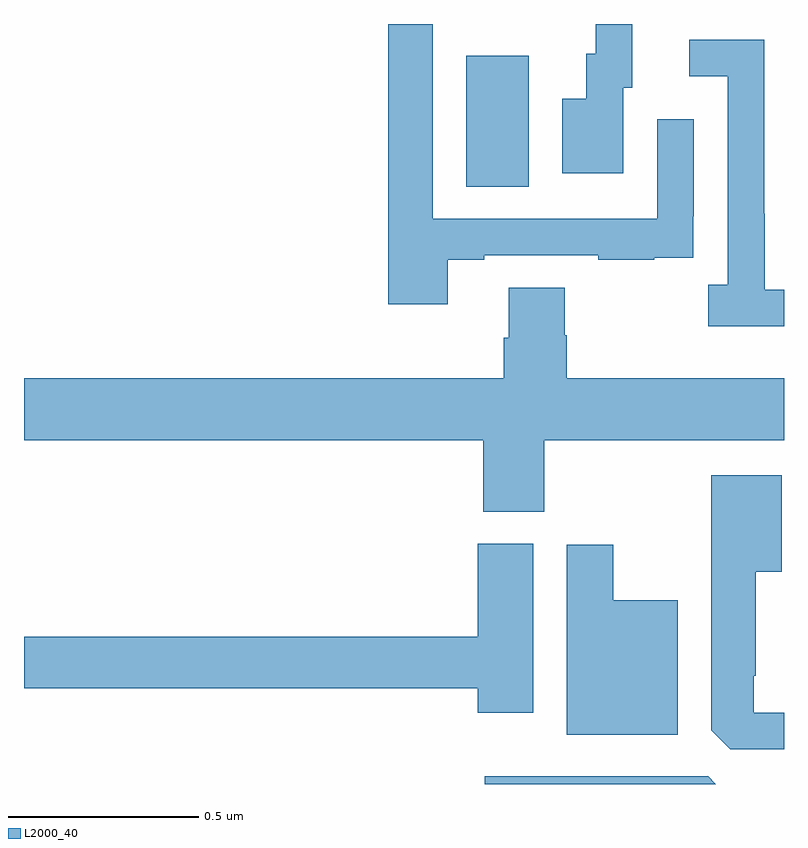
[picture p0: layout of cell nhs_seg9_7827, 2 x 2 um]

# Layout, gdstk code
import gdstk
lib = gdstk.Library(unit=1e-6, precision=1e-09)
def R(c, l, rs):  # rectangles x0, y0, x1, y1
    for r in rs: c.add(gdstk.rectangle(r[:2], r[2:], *l))
def P(c, l, *ps):  # polygons
    for p in ps: c.add(gdstk.Polygon(p, *l))
L2000_40 = (2000, 40)

nhs_seg9_7827 = lib.new_cell('nhs_seg9_7827')
R(nhs_seg9_7827, L2000_40, [(210.164,1213.072,210.328,1213.416)])
P(nhs_seg9_7827, L2000_40, [(210.115,1212.879),(210.211,1212.879),(210.211,1212.891),(210.511,1212.891),(210.511,1212.879),(210.659,1212.879),(210.659,1212.885),(210.761,1212.885),(210.761,1212.994),(210.762,1212.994),(210.762,1213.249),(210.666,1213.249),(210.666,1212.987),(210.075,1212.987),(210.075,1213.5),(209.959,1213.5),(209.959,1212.762),(210.115,1212.762)],
  [(210.577,1213.332),(210.601,1213.332),(210.601,1213.5),(210.504,1213.5),(210.504,1213.422),(210.479,1213.422),(210.479,1213.303),(210.416,1213.303),(210.416,1213.107),(210.577,1213.107)],
  [(211,1212.801),(210.949,1212.801),(210.949,1213.001),(210.948,1213.001),(210.948,1213.458),(210.75,1213.458),(210.75,1213.362),(210.852,1213.362),(210.852,1212.814),(210.801,1212.814),(210.801,1212.704),(211,1212.704)],
  [(210.369,1212.404),(211,1212.404),(211,1212.568),(210.428,1212.568),(210.428,1212.681),(210.423,1212.681),(210.423,1212.806),(210.275,1212.806),(210.275,1212.674),(210.263,1212.674),(210.263,1212.568),(209,1212.568),(209,1212.404),(210.209,1212.404),(210.209,1212.217),(210.369,1212.217)],
  [(211,1211.688),(210.921,1211.688),(210.921,1211.785),(210.925,1211.785),(210.925,1212.059),(210.994,1212.059),(210.994,1212.313),(210.809,1212.313),(210.809,1211.641),(210.858,1211.592),(211,1211.592)],
  [(210.34,1212.132),(210.194,1212.132),(210.194,1211.888),(209,1211.888),(209,1211.752),(210.194,1211.752),(210.194,1211.688),(210.34,1211.688)],
  [(210.721,1211.983),(210.55,1211.983),(210.55,1212.13),(210.428,1212.13),(210.428,1211.63),(210.721,1211.63)],
  [(210.801,1211.52),(210.213,1211.52),(210.213,1211.5),(210.821,1211.5)])

lib.write_gds('nhs_seg9_7827.gds')
